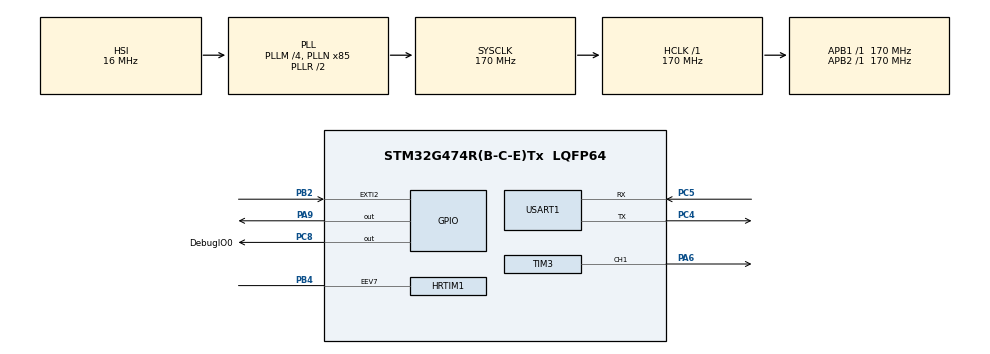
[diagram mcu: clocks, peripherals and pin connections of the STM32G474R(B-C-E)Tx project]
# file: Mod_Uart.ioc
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Dma.HRTIM1_A.0.Direction=DMA_PERIPH_TO_MEMORY
Dma.HRTIM1_A.0.EventEnable=DISABLE
Dma.HRTIM1_A.0.Instance=DMA1_Channel1
Dma.HRTIM1_A.0.MemDataAlignment=DMA_MDATAALIGN_WORD
Dma.HRTIM1_A.0.MemInc=DMA_MINC_ENABLE
Dma.HRTIM1_A.0.Mode=DMA_CIRCULAR
Dma.HRTIM1_A.0.PeriphDataAlignment=DMA_PDATAALIGN_WORD
Dma.HRTIM1_A.0.PeriphInc=DMA_PINC_DISABLE
Dma.HRTIM1_A.0.Polarity=HAL_DMAMUX_REQ_GEN_RISING
Dma.HRTIM1_A.0.Priority=DMA_PRIORITY_HIGH
Dma.HRTIM1_A.0.RequestNumber=1
Dma.HRTIM1_A.0.SignalID=NONE
Dma.HRTIM1_A.0.SyncEnable=DISABLE
Dma.HRTIM1_A.0.SyncPolarity=HAL_DMAMUX_SYNC_NO_EVENT
Dma.HRTIM1_A.0.SyncRequestNumber=1
Dma.HRTIM1_A.0.SyncSignalID=NONE
Dma.Request0=HRTIM1_A
HRTIM1.CaptureUnit1-No_output_TA=HRTIM_CAPTUREUNIT_1
HRTIM1.DMARequests1-No_output_TA=HRTIM_TIM_DMA_CPT1
HRTIM1.NumberDMARequests_TA=1
HRTIM1.NumberTriggerSource_Captureconfig1-No_output_TA=1
HRTIM1.Sensitivity_EEV7=HRTIM_EVENTSENSITIVITY_RISINGEDGE
HRTIM1.TriggerCapture1_Source1-No_output_TA=HRTIM_CAPTURETRIGGER_EEV_7
Mcu.Family=STM32G4
Mcu.Name=STM32G474R(B-C-E)Tx
Mcu.Package=LQFP64
NVIC.DMA1_Channel1_IRQn=true\:0\:0\:false\:false\:true\:false\:true\:true
NVIC.EXTI2_IRQn=true\:0\:0\:false\:false\:true\:true\:true\:true
NVIC.PriorityGroup=NVIC_PRIORITYGROUP_4
PA6.Signal=S_TIM3_CH1
PA9.Signal=GPIO_Output
PB2.Signal=GPXTI2
PB4.Mode=External_Evt_enable7
PB4.Signal=HRTIM1_EEV7
PC4.Mode=Asynchronous
PC4.Signal=USART1_TX
PC5.Mode=Asynchronous
PC5.Signal=USART1_RX
PC8.GPIO_Label=DebugIO0
PC8.Signal=GPIO_Output
ProjectManager.HeapSize=0x200
ProjectManager.StackSize=0x400
ProjectManager.TargetToolchain=STM32CubeIDE
RCC.ADC12Freq_Value=170000000
RCC.ADC345Freq_Value=170000000
RCC.AHBFreq_Value=170000000
RCC.APB1Freq_Value=170000000
RCC.APB1TimFreq_Value=170000000
RCC.APB2Freq_Value=170000000
RCC.APB2TimFreq_Value=170000000
RCC.CortexFreq_Value=170000000
RCC.EXTERNAL_CLOCK_VALUE=12288000
RCC.HCLKFreq_Value=170000000
RCC.HSE_VALUE=8000000
RCC.HSI48_VALUE=48000000
RCC.HSI_VALUE=16000000
RCC.LSE_VALUE=32768
RCC.PLLM=RCC_PLLM_DIV4
RCC.PLLN=85
RCC.SYSCLKFreq_VALUE=170000000
RCC.SYSCLKSource=RCC_SYSCLKSOURCE_PLLCLK
RCC.USBFreq_Value=170000000
RCC.VCOOutputFreq_Value=340000000
SH.S_TIM3_CH1.0=TIM3_CH1,PWM Generation1 CH1
TIM3.Channel-PWM\ Generation1\ CH1=TIM_CHANNEL_1
TIM3.PeriodNoDither=1699
TIM3.PulseNoDither_1=850
USART1.VirtualMode-Asynchronous=VM_ASYNC
VP_HRTIM1_VS_hrtimTimerANoOutput.Mode=No_output_TA
VP_SYS_VS_DBSignals.Mode=DisableDeadBatterySignals
board=custom

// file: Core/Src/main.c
/* USER CODE BEGIN Header */
/**
  ******************************************************************************
  * @file           : main.c
  * @brief          : Main program body
  ******************************************************************************
  * @attention
  *
  * Copyright (c) 2026 STMicroelectronics.
  * All rights reserved.
  *
  * This software is licensed under terms that can be found in the LICENSE file
  * in the root directory of this software component.
  * If no LICENSE file comes with this software, it is provided AS-IS.
  *
  ******************************************************************************
  */
/* USER CODE END Header */
#include "main.h"

/* USER CODE BEGIN Includes */
#include "string.h"
#include "stdio.h"
#include <fsk_config.h>
#include <fsk_decoder.h>
/* USER CODE END Includes */

/* USER CODE BEGIN PD */
#define RES	5.88235			// At 170MHz, 1/170M = 5.88235us

/* USER CODE END PD */

HRTIM_HandleTypeDef hhrtim1;
DMA_HandleTypeDef hdma_hrtim1_a;

TIM_HandleTypeDef htim3;

UART_HandleTypeDef huart1;

/* USER CODE BEGIN PV */

volatile uint8_t debugFlag =0;
volatile uint8_t printdata =0;

volatile uint32_t max_cycles = 0;
/* USER CODE END PV */

void SystemClock_Config(void);
static void MX_GPIO_Init(void);
static void MX_DMA_Init(void);
static void MX_HRTIM1_Init(void);
static void MX_TIM3_Init(void);
static void MX_USART1_UART_Init(void);

int main(void)
{

  /* USER CODE BEGIN 1 */
	char msg[64];
  /* USER CODE END 1 */

  /* MCU Configuration--------------------------------------------------------*/

  /* Reset of all peripherals, Initializes the Flash interface and the Systick. */
  HAL_Init();

  /* Configure the system clock */
  SystemClock_Config();

  /* Initialize all configured peripherals */
  MX_GPIO_Init();
  MX_DMA_Init();
  MX_HRTIM1_Init();
  MX_TIM3_Init();
  MX_USART1_UART_Init();
  /* USER CODE BEGIN 2 */
  DWT_Init();
  HAL_TIM_PWM_Start(&htim3, TIM_CHANNEL_1);

  HAL_HRTIM_WaveformCountStart(&hhrtim1, HRTIM_TIMERID_TIMER_A);

#if !OFFLINE_CAPTURE_MODE
  start_capture();
#endif
  /* USER CODE END 2 */

  /* Infinite loop */
  /* USER CODE BEGIN WHILE */
  while (1)
  {
#if OFFLINE_CAPTURE_MODE

//	generate_fsk_test(); //pwmdebug
//	HAL_Delay(1);	//pwmdebug
	if (capture_done)
	{
		capture_done = 0;   // prevent re-entry
//		process_fsk_capture();
//		post_processing();
		process_block(0, CAPTURE_SAMPLES);
		uart_dump_capture();

//		while(1);
	}
#else
	generate_fsk_test();
    static uint32_t last_print = 0;

#ifdef DWT_DEBUG
    if (HAL_GetTick() - last_print > 1000)  // every 1 second
    {
        last_print = HAL_GetTick();

        uint32_t cycles = max_cycles;

        uint32_t time = (cycles * 1000000UL) / 170000000UL;

        int len = snprintf(msg, sizeof(msg),
                           "MH %lu T: %lu us\r\n",
                           cycles, time);

        HAL_UART_Transmit(&huart1,
                          (uint8_t*)msg,
                          len,
                          HAL_MAX_DELAY);
    }
#endif
#if 0
    if(debugFlag)
	{
        int len = snprintf(msg, sizeof(msg),
                           "Res  %u\r\n",
						   printdata);

        HAL_UART_Transmit(&huart1,
                          (uint8_t*)msg,
                          len,
                          HAL_MAX_DELAY);
	}
	//Continuous mode: nothing required here
	// Processing is done in DMA IRQ
#endif
#endif
    /* USER CODE END WHILE */

  }
}

void SystemClock_Config(void)
{
  RCC_OscInitTypeDef RCC_OscInitStruct = {0};
  RCC_ClkInitTypeDef RCC_ClkInitStruct = {0};

  /** Configure the main internal regulator output voltage
  */
  HAL_PWREx_ControlVoltageScaling(PWR_REGULATOR_VOLTAGE_SCALE1_BOOST);

  /** Initializes the RCC Oscillators according to the specified parameters
  * in the RCC_OscInitTypeDef structure.
  */
  RCC_OscInitStruct.OscillatorType = RCC_OSCILLATORTYPE_HSI;
  RCC_OscInitStruct.HSIState = RCC_HSI_ON;
  RCC_OscInitStruct.HSICalibrationValue = RCC_HSICALIBRATION_DEFAULT;
  RCC_OscInitStruct.PLL.PLLState = RCC_PLL_ON;
  RCC_OscInitStruct.PLL.PLLSource = RCC_PLLSOURCE_HSI;
  RCC_OscInitStruct.PLL.PLLM = RCC_PLLM_DIV4;
  RCC_OscInitStruct.PLL.PLLN = 85;
  RCC_OscInitStruct.PLL.PLLP = RCC_PLLP_DIV2;
  RCC_OscInitStruct.PLL.PLLQ = RCC_PLLQ_DIV2;
  RCC_OscInitStruct.PLL.PLLR = RCC_PLLR_DIV2;
  if (HAL_RCC_OscConfig(&RCC_OscInitStruct) != HAL_OK)
  {
    Error_Handler();
  }

  /** Initializes the CPU, AHB and APB buses clocks
  */
  RCC_ClkInitStruct.ClockType = RCC_CLOCKTYPE_HCLK|RCC_CLOCKTYPE_SYSCLK
                              |RCC_CLOCKTYPE_PCLK1|RCC_CLOCKTYPE_PCLK2;
  RCC_ClkInitStruct.SYSCLKSource = RCC_SYSCLKSOURCE_PLLCLK;
  RCC_ClkInitStruct.AHBCLKDivider = RCC_SYSCLK_DIV1;
  RCC_ClkInitStruct.APB1CLKDivider = RCC_HCLK_DIV1;
  RCC_ClkInitStruct.APB2CLKDivider = RCC_HCLK_DIV1;

  if (HAL_RCC_ClockConfig(&RCC_ClkInitStruct, FLASH_LATENCY_4) != HAL_OK)
  {
    Error_Handler();
  }
}

static void MX_HRTIM1_Init(void)
{

  HRTIM_EventCfgTypeDef pEventCfg = {0};
  HRTIM_TimeBaseCfgTypeDef pTimeBaseCfg = {0};
  HRTIM_TimerCtlTypeDef pTimerCtl = {0};
  HRTIM_TimerCfgTypeDef pTimerCfg = {0};
  HRTIM_CaptureCfgTypeDef pCaptureCfg = {0};

  hhrtim1.Instance = HRTIM1;
  hhrtim1.Init.HRTIMInterruptResquests = HRTIM_IT_NONE;
  hhrtim1.Init.SyncOptions = HRTIM_SYNCOPTION_NONE;
  if (HAL_HRTIM_Init(&hhrtim1) != HAL_OK)
  {
    Error_Handler();
  }
  if (HAL_HRTIM_DLLCalibrationStart(&hhrtim1, HRTIM_CALIBRATIONRATE_3) != HAL_OK)
  {
    Error_Handler();
  }
  if (HAL_HRTIM_PollForDLLCalibration(&hhrtim1, 10) != HAL_OK)
  {
    Error_Handler();
  }
  if (HAL_HRTIM_EventPrescalerConfig(&hhrtim1, HRTIM_EVENTPRESCALER_DIV1) != HAL_OK)
  {
    Error_Handler();
  }
  pEventCfg.Source = HRTIM_EEV7SRC_GPIO;
  pEventCfg.Polarity = HRTIM_EVENTPOLARITY_HIGH;
  pEventCfg.Sensitivity = HRTIM_EVENTSENSITIVITY_RISINGEDGE;
  pEventCfg.Filter = HRTIM_EVENTFILTER_NONE;
  if (HAL_HRTIM_EventConfig(&hhrtim1, HRTIM_EVENT_7, &pEventCfg) != HAL_OK)
  {
    Error_Handler();
  }
  pTimeBaseCfg.Period = 0xFFDF;
  pTimeBaseCfg.RepetitionCounter = 0x00;
  pTimeBaseCfg.PrescalerRatio = HRTIM_PRESCALERRATIO_MUL32;
  pTimeBaseCfg.Mode = HRTIM_MODE_CONTINUOUS;
  if (HAL_HRTIM_TimeBaseConfig(&hhrtim1, HRTIM_TIMERINDEX_TIMER_A, &pTimeBaseCfg) != HAL_OK)
  {
    Error_Handler();
  }
  pTimerCtl.UpDownMode = HRTIM_TIMERUPDOWNMODE_UP;
  pTimerCtl.DualChannelDacEnable = HRTIM_TIMER_DCDE_DISABLED;
  if (HAL_HRTIM_WaveformTimerControl(&hhrtim1, HRTIM_TIMERINDEX_TIMER_A, &pTimerCtl) != HAL_OK)
  {
    Error_Handler();
  }
  pTimerCfg.InterruptRequests = HRTIM_TIM_IT_NONE;
  pTimerCfg.DMARequests = HRTIM_TIM_DMA_CPT1;
  pTimerCfg.DMASrcAddress = 0x0000;
  pTimerCfg.DMADstAddress = 0x0000;
  pTimerCfg.DMASize = 0x1;
  pTimerCfg.HalfModeEnable = HRTIM_HALFMODE_DISABLED;
  pTimerCfg.InterleavedMode = HRTIM_INTERLEAVED_MODE_DISABLED;
  pTimerCfg.StartOnSync = HRTIM_SYNCSTART_DISABLED;
  pTimerCfg.ResetOnSync = HRTIM_SYNCRESET_DISABLED;
  pTimerCfg.DACSynchro = HRTIM_DACSYNC_NONE;
  pTimerCfg.PreloadEnable = HRTIM_PRELOAD_DISABLED;
  pTimerCfg.UpdateGating = HRTIM_UPDATEGATING_INDEPENDENT;
  pTimerCfg.BurstMode = HRTIM_TIMERBURSTMODE_MAINTAINCLOCK;
  pTimerCfg.RepetitionUpdate = HRTIM_UPDATEONREPETITION_DISABLED;
  pTimerCfg.PushPull = HRTIM_TIMPUSHPULLMODE_DISABLED;
  pTimerCfg.FaultEnable = HRTIM_TIMFAULTENABLE_NONE;
  pTimerCfg.FaultLock = HRTIM_TIMFAULTLOCK_READWRITE;
  pTimerCfg.DeadTimeInsertion = HRTIM_TIMDEADTIMEINSERTION_DISABLED;
  pTimerCfg.DelayedProtectionMode = HRTIM_TIMER_A_B_C_DELAYEDPROTECTION_DISABLED;
  pTimerCfg.UpdateTrigger = HRTIM_TIMUPDATETRIGGER_NONE;
  pTimerCfg.ResetTrigger = HRTIM_TIMRESETTRIGGER_NONE;
  pTimerCfg.ResetUpdate = HRTIM_TIMUPDATEONRESET_DISABLED;
  pTimerCfg.ReSyncUpdate = HRTIM_TIMERESYNC_UPDATE_UNCONDITIONAL;
  if (HAL_HRTIM_WaveformTimerConfig(&hhrtim1, HRTIM_TIMERINDEX_TIMER_A, &pTimerCfg) != HAL_OK)
  {
    Error_Handler();
  }
  pCaptureCfg.Trigger = HRTIM_CAPTURETRIGGER_EEV_7;
  if (HAL_HRTIM_WaveformCaptureConfig(&hhrtim1, HRTIM_TIMERINDEX_TIMER_A, HRTIM_CAPTUREUNIT_1, &pCaptureCfg) != HAL_OK)
  {
    Error_Handler();
  }

}

static void MX_TIM3_Init(void)
{

  TIM_MasterConfigTypeDef sMasterConfig = {0};
  TIM_OC_InitTypeDef sConfigOC = {0};

  htim3.Instance = TIM3;
  htim3.Init.Prescaler = 0;
  htim3.Init.CounterMode = TIM_COUNTERMODE_UP;
  htim3.Init.Period = 1699;
  htim3.Init.ClockDivision = TIM_CLOCKDIVISION_DIV1;
  htim3.Init.AutoReloadPreload = TIM_AUTORELOAD_PRELOAD_DISABLE;
  if (HAL_TIM_PWM_Init(&htim3) != HAL_OK)
  {
    Error_Handler();
  }
  sMasterConfig.MasterOutputTrigger = TIM_TRGO_RESET;
  sMasterConfig.MasterSlaveMode = TIM_MASTERSLAVEMODE_DISABLE;
  if (HAL_TIMEx_MasterConfigSynchronization(&htim3, &sMasterConfig) != HAL_OK)
  {
    Error_Handler();
  }
  sConfigOC.OCMode = TIM_OCMODE_PWM1;
  sConfigOC.Pulse = 850;
  sConfigOC.OCPolarity = TIM_OCPOLARITY_HIGH;
  sConfigOC.OCFastMode = TIM_OCFAST_DISABLE;
  if (HAL_TIM_PWM_ConfigChannel(&htim3, &sConfigOC, TIM_CHANNEL_1) != HAL_OK)
  {
    Error_Handler();
  }
  HAL_TIM_MspPostInit(&htim3);

}

static void MX_USART1_UART_Init(void)
{

  huart1.Instance = USART1;
  huart1.Init.BaudRate = 115200;
  huart1.Init.WordLength = UART_WORDLENGTH_8B;
  huart1.Init.StopBits = UART_STOPBITS_1;
  huart1.Init.Parity = UART_PARITY_NONE;
  huart1.Init.Mode = UART_MODE_TX_RX;
  huart1.Init.HwFlowCtl = UART_HWCONTROL_NONE;
  huart1.Init.OverSampling = UART_OVERSAMPLING_16;
  huart1.Init.OneBitSampling = UART_ONE_BIT_SAMPLE_DISABLE;
  huart1.Init.ClockPrescaler = UART_PRESCALER_DIV1;
  huart1.AdvancedInit.AdvFeatureInit = UART_ADVFEATURE_NO_INIT;
  if (HAL_UART_Init(&huart1) != HAL_OK)
  {
    Error_Handler();
  }
  if (HAL_UARTEx_SetTxFifoThreshold(&huart1, UART_TXFIFO_THRESHOLD_1_8) != HAL_OK)
  {
    Error_Handler();
  }
  if (HAL_UARTEx_SetRxFifoThreshold(&huart1, UART_RXFIFO_THRESHOLD_1_8) != HAL_OK)
  {
    Error_Handler();
  }
  if (HAL_UARTEx_DisableFifoMode(&huart1) != HAL_OK)
  {
    Error_Handler();
  }

}

static void MX_DMA_Init(void)
{

  /* DMA controller clock enable */
  __HAL_RCC_DMAMUX1_CLK_ENABLE();
  __HAL_RCC_DMA1_CLK_ENABLE();

  /* DMA interrupt init */
  /* DMA1_Channel1_IRQn interrupt configuration */
  HAL_NVIC_SetPriority(DMA1_Channel1_IRQn, 0, 0);
  HAL_NVIC_EnableIRQ(DMA1_Channel1_IRQn);

}

static void MX_GPIO_Init(void)
{
  GPIO_InitTypeDef GPIO_InitStruct = {0};

  /* GPIO Ports Clock Enable */
  __HAL_RCC_GPIOA_CLK_ENABLE();
  __HAL_RCC_GPIOC_CLK_ENABLE();
  __HAL_RCC_GPIOB_CLK_ENABLE();

  /*Configure GPIO pin Output Level */
  HAL_GPIO_WritePin(DebugIO0_GPIO_Port, DebugIO0_Pin, GPIO_PIN_RESET);

  /*Configure GPIO pin Output Level */
  HAL_GPIO_WritePin(GPIOA, GPIO_PIN_9, GPIO_PIN_RESET);

  /*Configure GPIO pin : PB2 */
  GPIO_InitStruct.Pin = GPIO_PIN_2;
  GPIO_InitStruct.Mode = GPIO_MODE_IT_RISING;
  GPIO_InitStruct.Pull = GPIO_NOPULL;
  HAL_GPIO_Init(GPIOB, &GPIO_InitStruct);

  /*Configure GPIO pin : DebugIO0_Pin */
  GPIO_InitStruct.Pin = DebugIO0_Pin;
  GPIO_InitStruct.Mode = GPIO_MODE_OUTPUT_PP;
  GPIO_InitStruct.Pull = GPIO_NOPULL;
  GPIO_InitStruct.Speed = GPIO_SPEED_FREQ_LOW;
  HAL_GPIO_Init(DebugIO0_GPIO_Port, &GPIO_InitStruct);

  /*Configure GPIO pin : PA9 */
  GPIO_InitStruct.Pin = GPIO_PIN_9;
  GPIO_InitStruct.Mode = GPIO_MODE_OUTPUT_PP;
  GPIO_InitStruct.Pull = GPIO_NOPULL;
  GPIO_InitStruct.Speed = GPIO_SPEED_FREQ_LOW;
  HAL_GPIO_Init(GPIOA, &GPIO_InitStruct);

  /* EXTI interrupt init*/
  HAL_NVIC_SetPriority(EXTI2_IRQn, 0, 0);
  HAL_NVIC_EnableIRQ(EXTI2_IRQn);

}

/* USER CODE BEGIN 4 */

void start_capture(void)
{
    HRTIM1->sTimerxRegs[HRTIM_TIMERINDEX_TIMER_A].CNTxR = 0;

    HRTIM1->sTimerxRegs[HRTIM_TIMERINDEX_TIMER_A].TIMxDIER |=
        HRTIM_TIMDIER_CPT1DE;

    hdma_hrtim1_a.XferHalfCpltCallback = HAL_DMA_XferHalfCpltCallback;
    hdma_hrtim1_a.XferCpltCallback     = HAL_DMA_XferCpltCallback;
#if OFFLINE_CAPTURE_MODE

//    HAL_HRTIM_SimpleCaptureStart_DMA(
//        &hhrtim1,
//        HRTIM_TIMERINDEX_TIMER_A,
//        HRTIM_CAPTUREUNIT_1,
//		(uint32_t)&HRTIM1->sTimerxRegs[HRTIM_TIMERINDEX_TIMER_A].CPT1xR,
//        (uint32_t )hrtim_capture_buf,
//        CAPTURE_SAMPLES
//    );

    HAL_DMA_Start_IT(&hdma_hrtim1_a,
  		  (uint32_t)&HRTIM1->sTimerxRegs[HRTIM_TIMERINDEX_TIMER_A].CPT1xR,
  		  (uint32_t)hrtim_capture_buf, CAPTURE_SAMPLES
  		  );

    __HAL_DMA_DISABLE_IT(&hdma_hrtim1_a, DMA_IT_HT);

#else

    //Half Transfer interrupt will be enabled by this function itself
    HAL_DMA_Start_IT(&hdma_hrtim1_a,
  		  (uint32_t)&HRTIM1->sTimerxRegs[HRTIM_TIMERINDEX_TIMER_A].CPT1xR,
  		  (uint32_t)hrtim_capture_buf, CAPTURE_SAMPLES
  		  );

#endif
}

void DWT_Init(void)
{
    /* Enable TRC (Trace) */
    CoreDebug->DEMCR |= CoreDebug_DEMCR_TRCENA_Msk;

    /* Reset cycle counter */
    DWT->CYCCNT = 0;

    /* Enable cycle counter */
    DWT->CTRL |= DWT_CTRL_CYCCNTENA_Msk;
}

void HAL_DMA_XferHalfCpltCallback(DMA_HandleTypeDef *hdma)
{
	uint32_t start = DWT->CYCCNT;
    if (hdma == &hdma_hrtim1_a)
    {
//    	HAL_GPIO_WritePin(DebugIO0_GPIO_Port, DebugIO0_Pin, GPIO_PIN_SET);
        process_block(0, CAPTURE_SAMPLES / 2);
//        HAL_GPIO_WritePin(DebugIO0_GPIO_Port, DebugIO0_Pin, GPIO_PIN_RESET);
    }
    uint32_t end = DWT->CYCCNT;

    uint32_t cycles = end - start;

    if (cycles > max_cycles)
    	max_cycles = cycles;
}

void HAL_DMA_XferCpltCallback(DMA_HandleTypeDef *hdma)
{
#if OFFLINE_CAPTURE_MODE
    if (hdma == &hdma_hrtim1_a)
    {
        HRTIM1->sTimerxRegs[HRTIM_TIMERINDEX_TIMER_A].TIMxDIER &=
            ~HRTIM_TIMDIER_CPT1DE;

        HAL_DMA_Abort(&hdma_hrtim1_a);

        capture_done = 1;
    }
#else
	uint32_t start = DWT->CYCCNT;
    if (hdma == &hdma_hrtim1_a)
    {
//    	HAL_GPIO_WritePin(DebugIO0_GPIO_Port, DebugIO0_Pin, GPIO_PIN_SET);
        process_block(CAPTURE_SAMPLES / 2, CAPTURE_SAMPLES / 2);
//        HAL_GPIO_WritePin(DebugIO0_GPIO_Port, DebugIO0_Pin, GPIO_PIN_RESET);
    }
    uint32_t end = DWT->CYCCNT;

    uint32_t cycles = end - start;

    if (cycles > max_cycles)
    	max_cycles = cycles;
#endif
}

void generate_fsk_test(void)
{
	static uint8_t bit = 0;

	if (bit)
	{
		__HAL_TIM_SET_AUTORELOAD(&htim3, 894);   // 190 kHz
		__HAL_TIM_SET_COMPARE(&htim3, TIM_CHANNEL_1, 447);
	}
	else
	{
//        __HAL_TIM_SET_AUTORELOAD(&htim3, 1415);  // 120 kHz
//        __HAL_TIM_SET_COMPARE(&htim3, TIM_CHANNEL_1, 708);
		__HAL_TIM_SET_AUTORELOAD(&htim3, 339);  // 120 kHz
		__HAL_TIM_SET_COMPARE(&htim3, TIM_CHANNEL_1, 170);
	}

//    bit ^= 1;
}

/* USER CODE END 4 */

void Error_Handler(void)
{
  __disable_irq();
  while (1)
  {
  }
}
